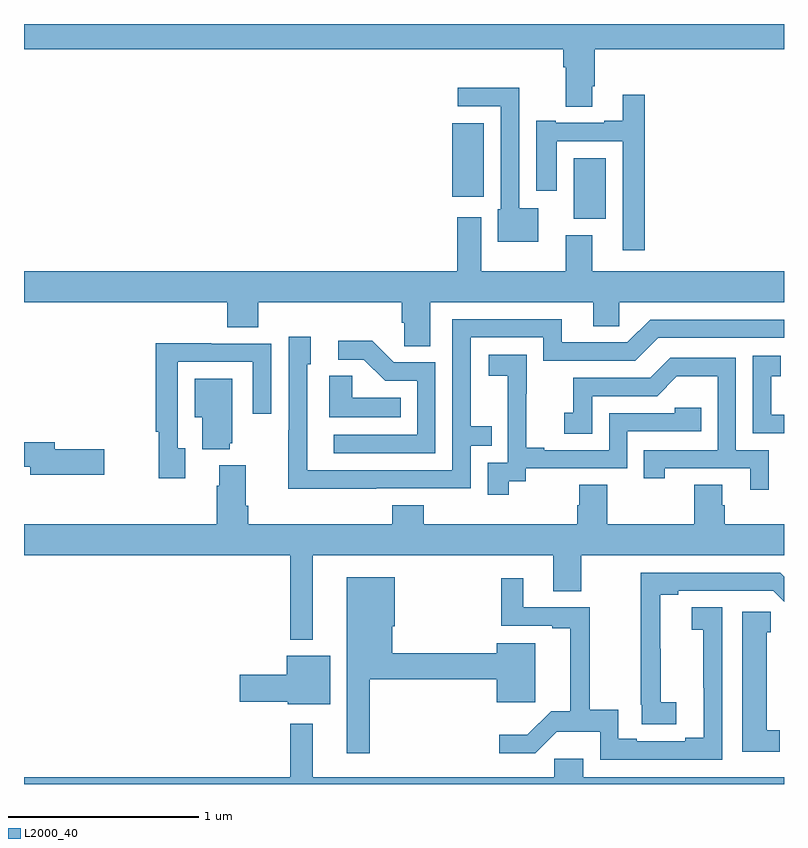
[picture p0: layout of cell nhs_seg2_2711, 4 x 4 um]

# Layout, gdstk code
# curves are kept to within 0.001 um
import gdstk
lib = gdstk.Library(unit=1e-6, precision=1e-09)
def R(c, l, rs):  # rectangles x0, y0, x1, y1
    for r in rs: c.add(gdstk.rectangle(r[:2], r[2:], *l))
def P(c, l, *ps):  # polygons
    for p in ps: c.add(gdstk.Polygon(p, *l))
L2000_40 = (2000, 40)

nhs_seg2_2711 = lib.new_cell('nhs_seg2_2711')
R(nhs_seg2_2711, L2000_40, [(255.893,614.774,256.063,615.094), (255.254,614.891,255.421,615.277)])
P(nhs_seg2_2711, L2000_40, [(255.991,615.472),(256.004,615.472),(256.004,615.668),(257,615.668),(257,615.8),(253,615.8),(253,615.668),(255.839,615.668),(255.839,615.572),(255.851,615.572),(255.851,615.364),(255.991,615.364)],
  [(255.706,614.83),(255.606,614.83),(255.606,615.464),(255.282,615.464),(255.282,615.366),(255.51,615.366),(255.51,614.826),(255.494,614.826),(255.494,614.654),(255.706,614.654)],
  [(256.268,615.427),(256.151,615.427),(256.151,615.292),(256.055,615.292),(256.055,615.279),(255.799,615.279),(255.799,615.292),(255.695,615.292),(255.695,614.922),(255.805,614.922),(255.805,615.183),(256.152,615.183),(256.152,614.61),(256.268,614.61)],
  [(255.139,614.336),(255.995,614.336),(255.995,614.209),(256.134,614.209),(256.134,614.336),(257,614.336),(257,614.5),(255.991,614.5),(255.991,614.689),(255.851,614.689),(255.851,614.5),(255.406,614.5),(255.406,614.782),(255.281,614.782),(255.281,614.5),(253,614.5),(253,614.336),(254.069,614.336),(254.069,614.203),(254.234,614.203),(254.234,614.336),(254.987,614.336),(254.987,614.227),(255,614.227),(255,614.104),(255.139,614.104)],
  [(254.855,613.356),(255.351,613.356),(255.351,613.581),(255.461,613.581),(255.461,613.682),(255.351,613.682),(255.351,614.151),(255.732,614.151),(255.732,614.028),(256.218,614.028),(256.338,614.148),(257,614.148),(257,614.244),(256.296,614.244),(256.176,614.124),(255.829,614.124),(255.829,614.247),(255.255,614.247),(255.255,613.452),(254.49,613.452),(254.49,614.01),(254.509,614.01),(254.509,614.155),(254.394,614.155),(254.394,613.661),(254.392,613.661),(254.392,613.355)],
  [(255.165,614.019),(254.946,614.019),(254.833,614.132),(254.655,614.132),(254.655,614.034),(254.789,614.034),(254.9,613.923),(255.069,613.923),(255.069,613.638),(254.631,613.638),(254.631,613.542),(255.165,613.542)],
  [(253.849,613.566),(253.809,613.566),(253.809,614.022),(254.205,614.022),(254.205,613.749),(254.301,613.749),(254.301,614.118),(253.985,614.118),(253.985,614.12),(253.693,614.12),(253.693,613.654),(253.708,613.654),(253.708,613.41),(253.849,613.41)],
  [(255.55,613.393),(255.642,613.393),(255.642,613.461),(256.176,613.461),(256.176,613.656),(256.565,613.656),(256.565,613.779),(256.425,613.779),(256.425,613.752),(256.08,613.752),(256.08,613.557),(255.739,613.557),(255.739,613.57),(255.644,613.57),(255.644,613.853),(255.645,613.853),(255.645,614.059),(255.447,614.059),(255.447,613.949),(255.545,613.949),(255.545,613.721),(255.546,613.721),(255.546,613.491),(255.441,613.491),(255.441,613.323),(255.55,613.323)],
  [(257,613.743),(256.933,613.743),(256.933,613.947),(256.982,613.947),(256.982,614.053),(256.836,614.053),(256.836,613.647),(257,613.647)],
  [(256.92,613.557),(256.746,613.557),(256.746,614.043),(256.4,614.043),(256.295,613.938),(255.892,613.938),(255.892,613.753),(255.843,613.753),(255.843,613.644),(255.99,613.644),(255.99,613.842),(256.332,613.842),(256.436,613.946),(256.65,613.946),(256.65,613.557),(256.261,613.557),(256.261,613.41),(256.372,613.41),(256.372,613.461),(256.823,613.461),(256.823,613.35),(256.92,613.35)],
  [(254.984,613.834),(254.727,613.834),(254.727,613.949),(254.606,613.949),(254.606,613.73),(254.984,613.73)],
  [(254.084,613.593),(254.095,613.593),(254.095,613.933),(253.898,613.933),(253.898,613.73),(253.937,613.73),(253.937,613.562),(254.084,613.562)],
  [(253.423,613.562),(253.162,613.562),(253.162,613.598),(253,613.598),(253,613.47),(253.034,613.47),(253.034,613.427),(253.423,613.427)],
  [(254.521,613.004),(255.785,613.004),(255.785,612.814),(255.933,612.814),(255.933,613.004),(257,613.004),(257,613.168),(256.688,613.168),(256.688,613.266),(256.675,613.266),(256.675,613.376),(256.528,613.376),(256.528,613.168),(256.071,613.168),(256.071,613.376),(255.923,613.376),(255.923,613.266),(255.911,613.266),(255.911,613.168),(255.104,613.168),(255.104,613.267),(254.939,613.267),(254.939,613.168),(254.18,613.168),(254.18,613.264),(254.167,613.264),(254.167,613.477),(254.027,613.477),(254.027,613.37),(254.015,613.37),(254.015,613.168),(253,613.168),(253,613.004),(254.4,613.004),(254.4,612.56),(254.521,612.56)],
  [(256.432,612.23),(256.35,612.23),(256.348,612.796),(256.444,612.796),(256.444,612.816),(256.944,612.816),(257,612.76),(257,612.892),(256.98,612.912),(256.246,612.912),(256.246,612.217),(256.252,612.217),(256.252,612.115),(256.432,612.115)],
  [(254.821,612.352),(255.488,612.352),(255.488,612.231),(255.691,612.231),(255.691,612.541),(255.488,612.541),(255.488,612.488),(254.938,612.488),(254.938,612.63),(254.95,612.63),(254.95,612.889),(254.699,612.889),(254.699,611.961),(254.821,611.961)],
  [(256.674,612.731),(256.515,612.731),(256.515,612.611),(256.576,612.611),(256.577,612.044),(256.481,612.044),(256.481,612.024),(256.225,612.024),(256.225,612.038),(256.128,612.038),(256.128,612.191),(255.977,612.191),(255.977,612.729),(255.628,612.729),(255.628,612.883),(255.511,612.883),(255.511,612.633),(255.779,612.633),(255.779,612.621),(255.875,612.621),(255.875,612.184),(255.775,612.184),(255.649,612.058),(255.501,612.058),(255.501,611.961),(255.69,611.961),(255.803,612.074),(256.032,612.074),(256.032,611.928),(256.674,611.928)],
  [(256.978,612.084),(256.909,612.084),(256.909,612.6),(256.931,612.6),(256.931,612.706),(256.781,612.706),(256.781,611.969),(256.978,611.969)],
  [(254.611,612.475),(254.384,612.475),(254.384,612.374),(254.136,612.374),(254.136,612.232),(254.388,612.232),(254.388,612.221),(254.611,612.221)],
  [(257,611.836),(255.943,611.836),(255.943,611.934),(255.792,611.934),(255.792,611.836),(254.521,611.836),(254.521,612.118),(254.4,612.118),(254.4,611.836),(253,611.836),(253,611.8),(257,611.8)])

lib.write_gds('nhs_seg2_2711.gds')
